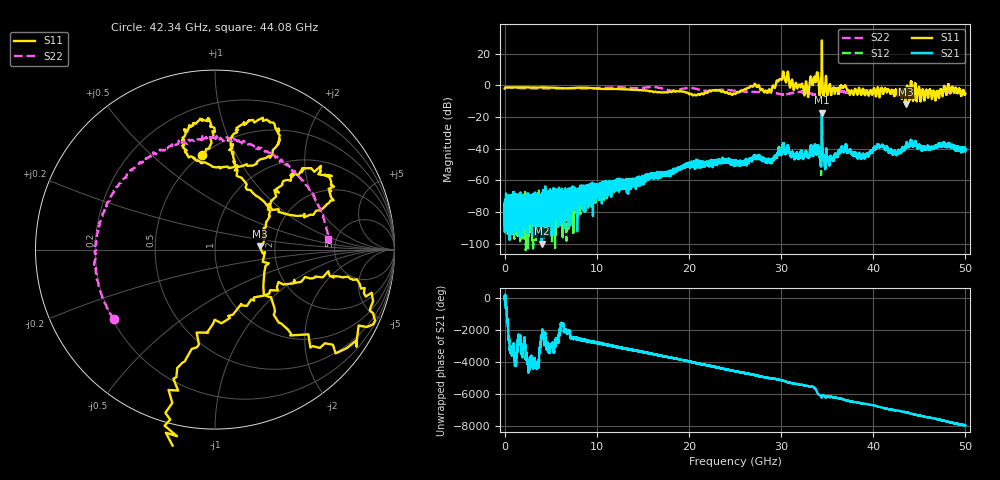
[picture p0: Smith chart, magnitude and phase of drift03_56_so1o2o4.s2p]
!Created with skrf (http://scikit-rf.org).
# Hz S RI R 50.0
!freq ReS11 ImS11 ReS21 ImS21 ReS12 ImS12 ReS22 ImS22
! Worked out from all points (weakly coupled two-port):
!   10000 points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, 5.3 MHz to 50 GHz, reference 50 ohm
!   highest |S21| = -17.42 dB at 34.43 GHz (marker M1); lowest = -100.2 dB at 4.04 GHz (marker M2)
!   lowest |S11| = -12.0 dB at 43.52 GHz (marker M3), VSWR 1.67, Z = 83.1 + j3.35 ohm
!   |S11| at or under -10 dB: 43.48722 GHz to 43.54774 GHz (60.52 MHz wide, 0.139 % of centre); 44.70632 GHz to 44.71132 GHz (4.998 MHz wide, 0.0112 % of centre); 45.124 GHz to 45.12664 GHz (2.639 MHz wide, 0.00585 % of centre) (the widest 3 of 4)
!   |S22| runs from -5.8 to -1.1 dB; largest |S21 - S12| = 0.041
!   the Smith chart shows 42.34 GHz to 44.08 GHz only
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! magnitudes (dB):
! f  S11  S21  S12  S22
! 5.3 MHz  -2.1  -78.2  -79.7  -1.3
! 4.04 GHz  -1.4  -100.2  -88.4  -2.0
! 8.34 GHz  -1.5  -71.7  -72.4  -2.1
! 16.67 GHz  -4.4  -57.3  -56.9  -1.5
! 20.32 GHz  -5.8  -50.2  -50.2  -1.8
! 25.01 GHz  -5.5  -48.9  -49.0  -3.5
! 27.02 GHz  -0.3  -45.6  -45.0  -4.2
! 28.72 GHz  -2.5  -48.0  -48.1  -4.5
! 30.14 GHz  4.5  -39.8  -40.5  -5.7
! 32.74 GHz  2.0  -42.3  -42.4  -4.6
! 33.34 GHz  2.6  -39.4  -40.8  -5.6
! 33.82 GHz  4.0  -42.0  -42.6  -5.7
! 34.43 GHz  28.3  -17.4  -19.1  -4.6
! 35.39 GHz  -4.7  -45.3  -44.9  -3.2
! 36.83 GHz  -0.7  -41.9  -41.8  -4.1
! 38.86 GHz  -2.5  -44.2  -43.8  -3.2
! 40.62 GHz  -5.6  -38.0  -38.6  -4.0
! 41.67 GHz  -2.9  -42.0  -42.2  -3.3
! 43.52 GHz  -12.0  -39.5  -39.1  -4.2
! 46.94 GHz  -3.8  -38.9  -38.8  -4.7
! 48.32 GHz  -4.5  -38.3  -37.9  -4.5
! 50 GHz  -5.3  -40.8  -40.5  -4.5
